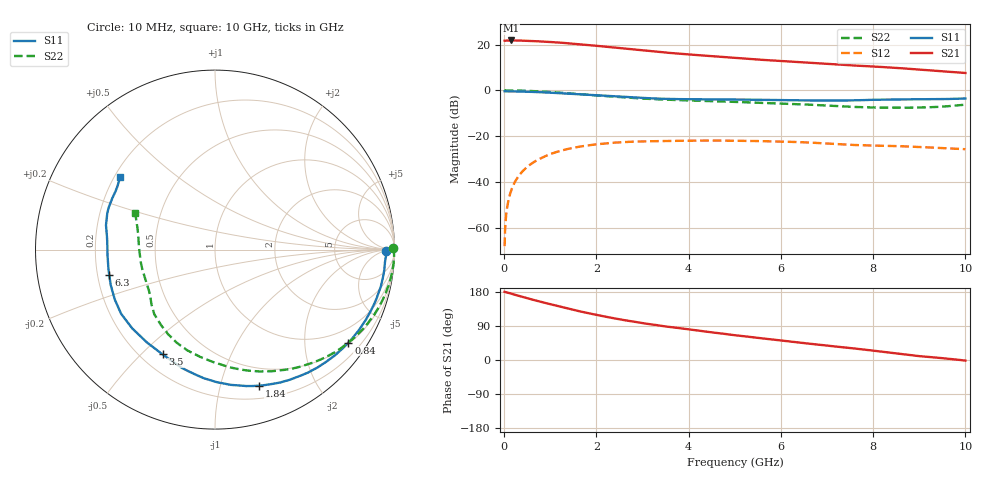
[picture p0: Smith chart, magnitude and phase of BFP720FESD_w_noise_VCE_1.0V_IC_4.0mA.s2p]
! Infineon Technologies  Discrete & RF Semiconductors
! BFP720FESD
! VCE =  1.0 V,  IC =  4.0 mA
! Common Emitter S-Parameters:  Jan 2016
# GHz  S  MA  R  50
!  f  S11  S21  S12  S22
! GHz  MAG  ANG  MAG  ANG  MAG  ANG  MAG  ANG
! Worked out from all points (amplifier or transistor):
!   233 points, 10 MHz to 10 GHz, reference 50 ohm
!   highest |S21| = 21.8 dB at 150 MHz (marker M1)
!   |S21| within 3 dB of that: start of sweep to 2.354 GHz
!   unconditionally stable (mu >= 1): 7.597 GHz to end of sweep
!   at 200 MHz: K = 0.01, MSG = 31.5 dB, |S12| = -41.3 dB
!   at 1.74 GHz: K = 0.16, MSG = 22.1 dB, |S12| = -24.2 dB
!   at 10 GHz: K = 1.53, MAG = 12.3 dB, |S12| = -25.7 dB
!   lowest NFmin = 0.48 dB at 450 MHz
!   S11 on the Smith chart (normalised r, x): 10 MHz: 43, -7; 840 MHz: 0.54, -3.10; 1.84 GHz: 0.32, -1.33; 3.5 GHz: 0.29, -0.58; 6.3 GHz: 0.25, -0.11; 10 GHz: 0.22, +0.32
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0.01  0.9553 -0.4  12.11 179.9  0.0004 101.0  0.9915 0.4
0.02  0.9524 -0.8  12.12 179.6  0.0009 90.7  0.9982 -0.6
0.045  0.9532 -1.8  12.13 178.5  0.002 88.0  0.9983 -1.4
0.15  0.9502 -6.4  12.26 175.1  0.0065 85.7  0.9972 -4.9
0.5  0.9335 -21.1  12.04 163.1  0.0214 76.2  0.9776 -16.0
0.84  0.9059 -34.9  11.58 152.2  0.0348 66.7  0.9421 -26.6
1.22  0.8675 -49.9  10.97 140.4  0.048 56.7  0.8911 -38.1
1.4  0.8461 -56.8  10.62 135.1  0.0533 52.0  0.8637 -43.4
1.68  0.8141 -66.7  10.06 127.3  0.0603 45.3  0.8214 -51.2
1.84  0.7969 -72.0  9.711 123.2  0.0636 41.8  0.7985 -55.5
2.2  0.7589 -83.3  8.981 114.3  0.0697 34.6  0.7502 -64.6
2.58  0.7204 -94.5  8.243 105.7  0.0744 27.6  0.7039 -73.7
3  0.6843 -105.7  7.475 97.1  0.0773 20.7  0.6617 -82.7
3.4  0.6571 -114.3  6.821 90.4  0.0784 15.9  0.6331 -89.1
3.5  0.6528 -116.6  6.674 88.5  0.0787 14.7  0.6272 -90.8
4.5  0.6367 -136.5  5.579 73.0  0.0807 4.5  0.5824 -105.3
5.1  0.6307 -147.3  5.016 64.1  0.0796 -1.3  0.5559 -113.7
6.3  0.6059 -166.4  4.197 47.5  0.0749 -11.1  0.5021 -130.1
6.8  0.5998 -174.5  3.904 40.6  0.0711 -14.5  0.4772 -136.8
8.4  0.6333 161.4  3.137 18.9  0.0614 -17.4  0.4195 -165.4
9  0.6397 153.7  2.843 10.2  0.0582 -19.2  0.4229 179.2
10  0.6647 142.5  2.393 -1.5  0.0521 -19.0  0.4877 155.6
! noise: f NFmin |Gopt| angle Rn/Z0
0.45  0.48  0.63  3  0.17
2.4  0.67  0.42  32  0.16
5.5  0.83  0.43  107  0.11
10  1.44  0.35  -164  0.09
